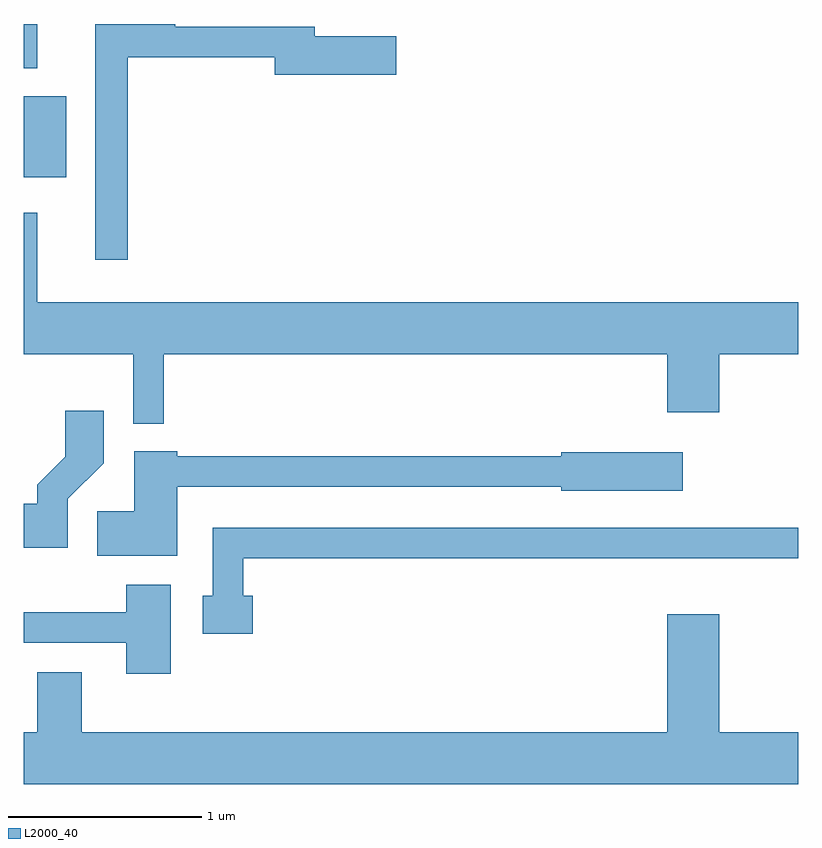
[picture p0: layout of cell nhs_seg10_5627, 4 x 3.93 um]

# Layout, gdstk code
import gdstk
lib = gdstk.Library(unit=1e-6, precision=1e-09)
def R(c, l, rs):  # rectangles x0, y0, x1, y1
    for r in rs: c.add(gdstk.rectangle(r[:2], r[2:], *l))
def P(c, l, *ps):  # polygons
    for p in ps: c.add(gdstk.Polygon(p, *l))
L2000_40 = (2000, 40)

nhs_seg10_5627 = lib.new_cell('nhs_seg10_5627')
R(nhs_seg10_5627, L2000_40, [(351.611,2103.731,351.829,2104.149), (351.611,2104.293,351.679,2104.522)])
P(nhs_seg10_5627, L2000_40, [(352.149,2104.351),(352.906,2104.351),(352.906,2104.261),(353.534,2104.261),(353.534,2104.459),(353.114,2104.459),(353.114,2104.509),(352.394,2104.509),(352.394,2104.522),(351.981,2104.522),(351.981,2103.303),(352.149,2103.303)],
  [(352.334,2102.816),(354.936,2102.816),(354.936,2102.516),(355.204,2102.516),(355.204,2102.816),(355.611,2102.816),(355.611,2103.084),(351.679,2103.084),(351.679,2103.548),(351.611,2103.548),(351.611,2102.816),(352.176,2102.816),(352.176,2102.458),(352.334,2102.458)],
  [(351.839,2102.069),(352.024,2102.254),(352.024,2102.524),(351.826,2102.524),(351.826,2102.287),(351.681,2102.142),(351.681,2102.044),(351.611,2102.044),(351.611,2101.816),(351.839,2101.816)],
  [(352.404,2102.131),(354.386,2102.131),(354.386,2102.111),(355.014,2102.111),(355.014,2102.309),(354.386,2102.309),(354.386,2102.289),(352.404,2102.289),(352.404,2102.314),(352.181,2102.314),(352.181,2102.004),(351.991,2102.004),(351.991,2101.776),(352.404,2101.776)],
  [(352.794,2101.569),(352.744,2101.569),(352.744,2101.761),(355.611,2101.761),(355.611,2101.919),(352.586,2101.919),(352.586,2101.569),(352.536,2101.569),(352.536,2101.371),(352.794,2101.371)],
  [(352.369,2101.624),(352.141,2101.624),(352.141,2101.484),(351.611,2101.484),(351.611,2101.326),(352.141,2101.326),(352.141,2101.166),(352.369,2101.166)],
  [(355.611,2100.864),(355.204,2100.864),(355.204,2101.474),(354.936,2101.474),(354.936,2100.864),(351.909,2100.864),(351.909,2101.174),(351.681,2101.174),(351.681,2100.864),(351.611,2100.864),(351.611,2100.596),(355.611,2100.596)])

lib.write_gds('nhs_seg10_5627.gds')
